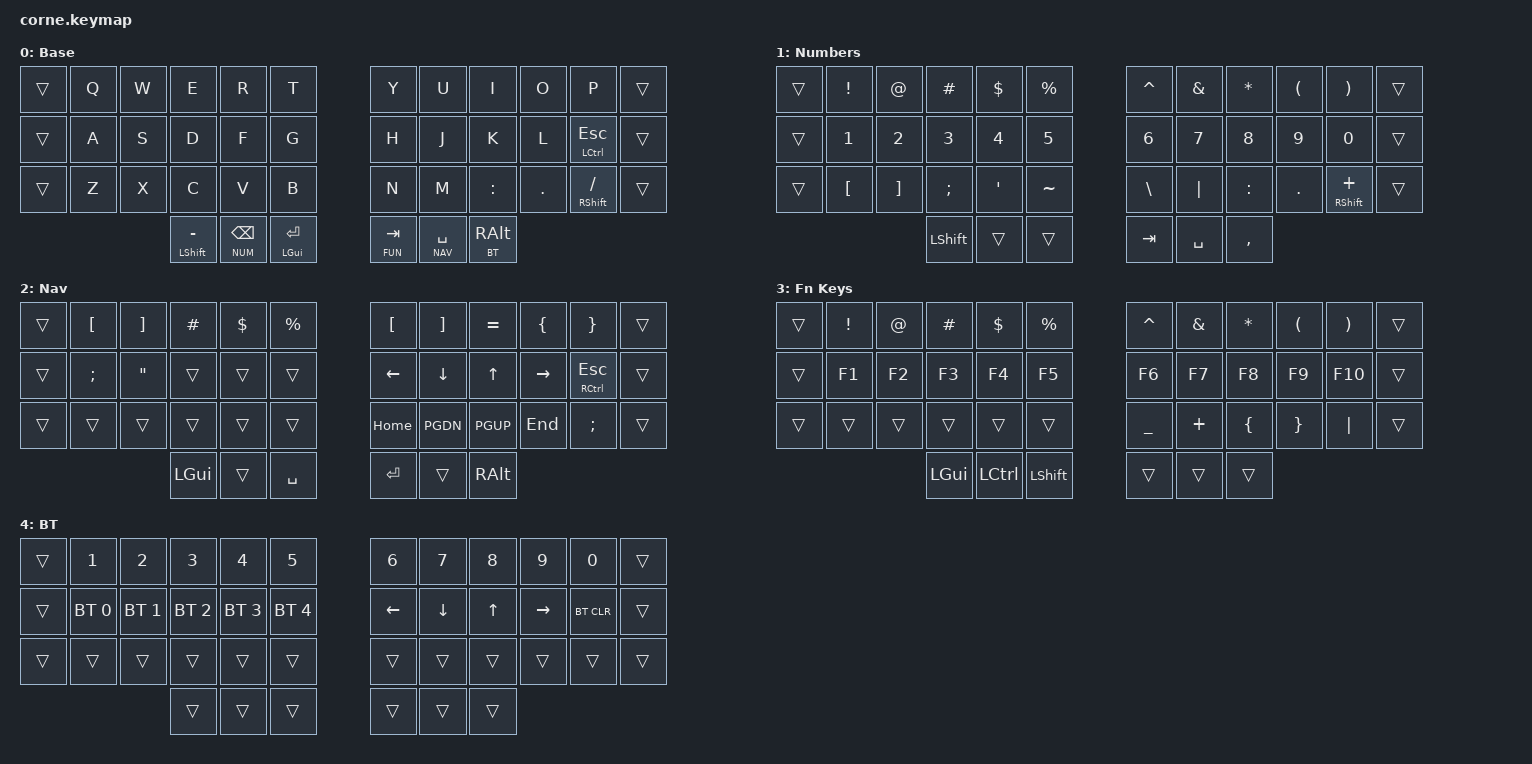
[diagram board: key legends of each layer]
/*
 * Copyright (c) 2020 The ZMK Contributors
 *
 * SPDX-License-Identifier: MIT
 */

#include <behaviors.dtsi>
#include <dt-bindings/zmk/keys.h>
#include <dt-bindings/zmk/bt.h>

// Layer definitions
#define QUERTY 0
#define NUM 1
#define NAV 2
#define FUN 3
#define BT 4

// Behavior configuration
&mt {
    tapping-term-ms = <200>;
    quick_tap_ms = <0>;
    flavor = "tap-preferred";
};
&lt {
    tapping-term-ms = <200>;
    quick_tap_ms = <0>;
    flavor = "tap-preferred";
};
&sk {
    release-after-ms = <500>;
    quick-release;
};

/ {
        keymap {
                compatible = "zmk,keymap";

                querty {
                  display-name = "Base";
// -----------------------------------------------------------------------------------------
// |  |  Q  |  W  |  E  |  R  |  T  |     |  Y  |  U   |  I  |  O  |  P     |  |
// |  |  A  |  S  |  D  |  F  |  G  |     |  H  |  J   |  K  |  L  |LCTL/ESC|  |
// |  |  Z  |  X  |  C  |  V  |  B  |     |  N  |  M   |  :  |  .  |RSHFT// |  |
//  | LSHIFT/- | NUM/BSPC| LGUI/ENT |     | FUN/TAB | NAV/SPC | BT/RALT |
                        bindings = <
   &trans &kp Q &kp W &kp E &kp R &kp T    &kp Y &kp U  &kp I     &kp O   &kp P          &trans
   &trans &kp A &kp S &kp D &kp F &kp G    &kp H &kp J  &kp K     &kp L   &mt LCTRL ESC  &trans
   &trans &kp Z &kp X &kp C &kp V &kp B    &kp N &kp M  &kp COLON &kp DOT &mt RSHFT FSLH &trans
     &mt LSHFT MINUS &lt NUM BSPC &mt LGUI RET  &lt FUN TAB  &lt NAV SPACE &lt BT RALT
                        >;
                };

                numbers {
                  display-name = "Numbers";
// -----------------------------------------------------------------------------------------
// | |  !  |  @  |  #  |  $  |  %  |   |  ^  |  &  |  *  |  (  |    )    | |
// | |  1  |  2  |  3  |  4  |  5  |   |  6  |  7  |  8  |  9  |    0    | |
// | |  [  |  ]  |  ;  |  `  |  ~  |   |  \  | "|" |  ;  |  .  |RSHFT/+  | |
//                    | LSHIFT | | |   | TAB | SPC | , |
                        bindings = <
   &trans &kp EXCL &kp AT   &kp HASH  &kp DLLR &kp PRCNT   &kp CARET &kp AMPS  &kp ASTRK &kp LPAR &kp RPAR       &trans
   &trans &kp N1   &kp N2   &kp N3    &kp N4   &kp N5      &kp N6    &kp N7    &kp N8    &kp N9   &kp N0         &trans
   &trans &kp LBKT &kp RBKT &kp SEMI  &kp SQT  &kp TILDE   &kp BSLH  &kp PIPE  &kp COLON &kp DOT  &mt RSHFT PLUS &trans
                            &kp LSHFT &trans   &trans      &kp TAB   &kp SPACE &kp COMMA
                        >;
                };

                navigation {
                  display-name = "Nav";
// -----------------------------------------------------------------------------------------
// | |  [  |  ]  |  #  | $ | % |   |  [   |   ]  |  =   |  {  |  } | |
// | |  ;  |  "  |     |   |   |   |  <-  |  DN  | UP   |  -> |  \ | |
// | |     |     |     |   |   |   | HOME | PGDN | PGUP | END |  ; | |
//               | GUI |   |SPC|   | ENT  |      | ALT |
                        bindings = <
   &trans &kp LBKT &kp RBKT &kp HASH &kp DLLR &kp PRCNT   &kp LBKT  &kp RBKT  &kp EQUAL &kp LBRC  &kp RBRC      &trans
   &trans &kp SEMI &kp DQT  &trans   &trans   &trans      &kp LEFT  &kp DOWN  &kp UP    &kp RIGHT &mt RCTRL ESC &trans
   &trans &trans   &trans   &trans   &trans   &trans      &kp HOME  &kp PGDN  &kp PGUP  &kp END   &kp SEMI      &trans
                            &kp LGUI &trans   &kp SPACE   &kp RET   &trans    &kp RALT
                        >;
                };

                functions {
                  display-name = "Fn Keys";
// -----------------------------------------------------------------------------------------
// | | !  | @  | #  |  $  |  % |   |  ^ | &  | *  | (  |  )  | |
// | | F1 | F2 | F3 | F4  | F5 |   | F6 | F7 | F8 | F9 | F10 | |
// | |    |    |    |     |    |   |  _ | +  | {  | }  | "|" | |
//        | GUI|CTRL|LSHFT|    |   |    |    |
                        bindings = <
   &trans &kp EXCL &kp AT &kp HASH &kp DLLR &kp PRCNT   &kp CARET &kp AMPS  &kp ASTRK &kp LPAR &kp RPAR &trans
   &trans &kp F1   &kp F2 &kp F3   &kp F4   &kp F5      &kp F6 &kp F7 &kp F8  &kp F9 &kp F10 &trans
   &trans &trans   &trans &trans   &trans   &trans      &kp UNDER &kp PLUS  &kp LBRC  &kp RBRC &kp PIPE &trans
                        &kp LGUI &kp LCTRL  &kp LSHFT   &trans &trans &trans
                        >;
                };

                bluetooth {
                  display-name = "BT";
// -----------------------------------------------------------------------------------------
// | |  1  |  2  |  3  |  4  |  5  |   |  6  |  7  |  8  |  9  |  0    | |
// | | BT0 | BT1 | BT2 | BT3 | BT4 |   | LFT | DWN |  UP | RGT | BTCLR | |
// | |     |     |     |     |     |   |     |     |     |     |       | |
//               |     |     |     |   |     |     |     |
                        bindings = <
   &trans &kp N1       &kp N2       &kp N3       &kp N4       &kp N5         &kp N6   &kp N7   &kp N8 &kp N9    &kp N0     &trans
   &trans &bt BT_SEL 0 &bt BT_SEL 1 &bt BT_SEL 2 &bt BT_SEL 3 &bt BT_SEL 4   &kp LEFT &kp DOWN &kp UP &kp RIGHT &bt BT_CLR &trans
   &trans &trans       &trans       &trans       &trans       &trans         &trans   &trans   &trans &trans    &trans     &trans
                                                      &trans &trans &trans   &trans &trans &trans
                        >;
                };

        };
};
